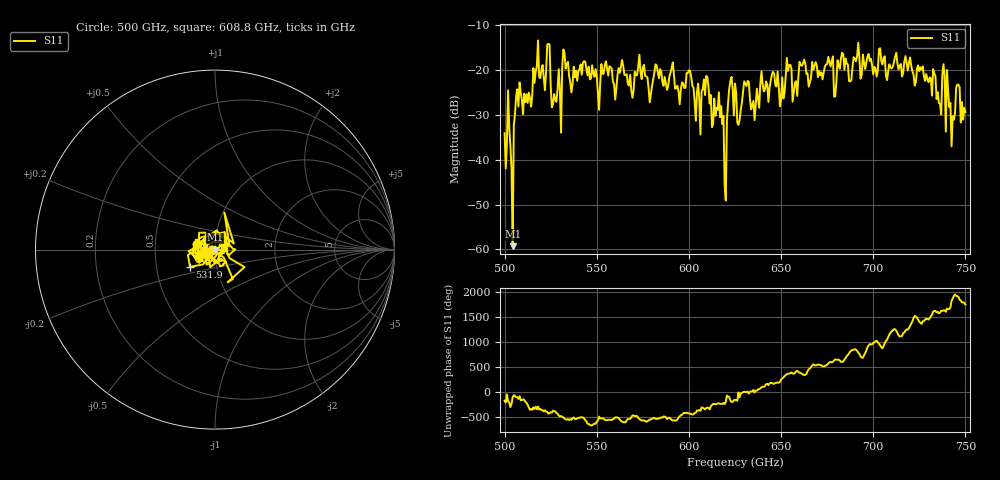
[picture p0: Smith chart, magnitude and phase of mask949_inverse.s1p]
!Created with skrf (http://scikit-rf.org).
# GHz S MA R 50.0
!freq magS11 angS11
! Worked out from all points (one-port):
!   401 points, 500 GHz to 750 GHz, reference 50 ohm
!   lowest |S11| = -59.3 dB at 504.4 GHz (marker M1), VSWR 1.00, Z = 50 - j0.107 ohm
!   |S11| at or under -10 dB: start of sweep to end of sweep
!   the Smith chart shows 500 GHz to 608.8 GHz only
!   S11 on the Smith chart (normalised r, x): 500 GHz: 0.96, -0.01; 531.9 GHz: 0.74, -0.15; 608.8 GHz: 1.11, +0.03
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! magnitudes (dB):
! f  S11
! 500 GHz  -34.1
! 504.4 GHz  -59.3
! 507.5 GHz  -28.1
! 513.8 GHz  -26.3
! 516.9 GHz  -20.4
! 523.8 GHz  -14.2
! 526.9 GHz  -25.4
! 531.2 GHz  -19.5
! 531.9 GHz  -15.4
! 562.5 GHz  -20.7
! 579.4 GHz  -25.4
! 590.6 GHz  -19.6
! 593.8 GHz  -23.5
! 600 GHz  -20.1
! 605 GHz  -23.1
! 608.8 GHz  -25.6
! 617.5 GHz  -28.1
! 619.4 GHz  -45.5
! 622.5 GHz  -22.5
! 625 GHz  -23.1
! 656.2 GHz  -27.1
! 687.5 GHz  -22.6
! 690.6 GHz  -18.1
! 718.8 GHz  -20.1
! 738.8 GHz  -21.6
! 743.1 GHz  -30.3
! 745.6 GHz  -23.3
! 750 GHz  -29.4
